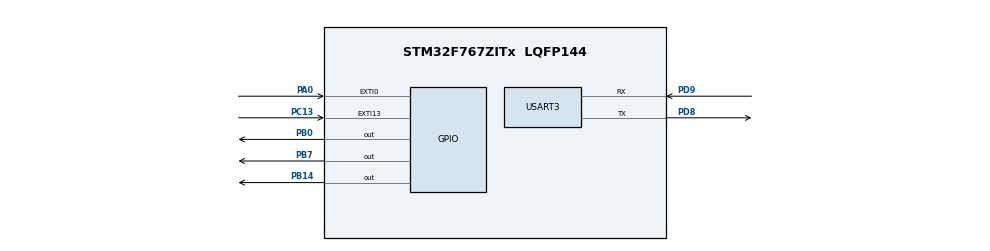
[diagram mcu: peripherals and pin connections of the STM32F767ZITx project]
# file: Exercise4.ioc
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Mcu.Family=STM32F7
Mcu.Name=STM32F767ZITx
Mcu.Package=LQFP144
NVIC.EXTI0_IRQn=true\:2\:2\:true\:false\:true\:true\:true\:true
NVIC.EXTI15_10_IRQn=true\:2\:0\:true\:false\:true\:true\:true\:true
NVIC.PriorityGroup=NVIC_PRIORITYGROUP_2
PA0/WKUP.GPIO_ModeDefaultEXTI=GPIO_MODE_IT_FALLING
PA0/WKUP.Signal=GPXTI0
PB0.Signal=GPIO_Output
PB14.Signal=GPIO_Output
PB7.Signal=GPIO_Output
PC13.GPIO_ModeDefaultEXTI=GPIO_MODE_IT_FALLING
PC13.Signal=GPXTI13
PD8.Mode=Asynchronous
PD8.Signal=USART3_TX
PD9.Mode=Asynchronous
PD9.Signal=USART3_RX
ProjectManager.HeapSize=0x200
ProjectManager.StackSize=0x400
ProjectManager.TargetToolchain=STM32CubeIDE
RCC.HSE_VALUE=25000000
RCC.HSI_VALUE=16000000
RCC.LSE_VALUE=32768
RCC.USBFreq_Value=96000000
RCC.VCOOutputFreq_Value=192000000
USART3.VirtualMode-Asynchronous=VM_ASYNC
board=custom

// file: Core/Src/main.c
/* USER CODE BEGIN Header */
/**
  ******************************************************************************
  * @file           : main.c
  * @brief          : Main program body
  ******************************************************************************
  * @attention
  *
  * Copyright (c) 2023 STMicroelectronics.
  * All rights reserved.
  *
  * This software is licensed under terms that can be found in the LICENSE file
  * in the root directory of this software component.
  * If no LICENSE file comes with this software, it is provided AS-IS.
  *
  ******************************************************************************
  */
/* USER CODE END Header */
#include "main.h"
#include "usart.h"
#include "gpio.h"

void SystemClock_Config(void);

int main(void)
{

  /* MCU Configuration--------------------------------------------------------*/

  /* Reset of all peripherals, Initializes the Flash interface and the Systick. */
  HAL_Init();

  /* Configure the system clock */
  SystemClock_Config();

  /* Initialize all configured peripherals */
  MX_GPIO_Init();
  MX_USART3_UART_Init();

  /* Infinite loop */
  while (1)
  {

    /* USER CODE BEGIN 3 */
	  HAL_UART_Transmit(&huart3,(uint8_t*) ".", 1, 1000);
	  HAL_Delay(400);
  }
  /* USER CODE END 3 */
}

void SystemClock_Config(void)
{
  RCC_OscInitTypeDef RCC_OscInitStruct = {0};
  RCC_ClkInitTypeDef RCC_ClkInitStruct = {0};

  /** Configure the main internal regulator output voltage
  */
  __HAL_RCC_PWR_CLK_ENABLE();
  __HAL_PWR_VOLTAGESCALING_CONFIG(PWR_REGULATOR_VOLTAGE_SCALE3);

  /** Initializes the RCC Oscillators according to the specified parameters
  * in the RCC_OscInitTypeDef structure.
  */
  RCC_OscInitStruct.OscillatorType = RCC_OSCILLATORTYPE_HSI;
  RCC_OscInitStruct.HSIState = RCC_HSI_ON;
  RCC_OscInitStruct.HSICalibrationValue = RCC_HSICALIBRATION_DEFAULT;
  RCC_OscInitStruct.PLL.PLLState = RCC_PLL_NONE;
  if (HAL_RCC_OscConfig(&RCC_OscInitStruct) != HAL_OK)
  {
    Error_Handler();
  }

  /** Initializes the CPU, AHB and APB buses clocks
  */
  RCC_ClkInitStruct.ClockType = RCC_CLOCKTYPE_HCLK|RCC_CLOCKTYPE_SYSCLK
                              |RCC_CLOCKTYPE_PCLK1|RCC_CLOCKTYPE_PCLK2;
  RCC_ClkInitStruct.SYSCLKSource = RCC_SYSCLKSOURCE_HSI;
  RCC_ClkInitStruct.AHBCLKDivider = RCC_SYSCLK_DIV1;
  RCC_ClkInitStruct.APB1CLKDivider = RCC_HCLK_DIV1;
  RCC_ClkInitStruct.APB2CLKDivider = RCC_HCLK_DIV1;

  if (HAL_RCC_ClockConfig(&RCC_ClkInitStruct, FLASH_LATENCY_0) != HAL_OK)
  {
    Error_Handler();
  }
}

/* USER CODE BEGIN 4 */

void HAL_GPIO_EXTI_Callback(uint16_t GPIO_Pin)
{
	if (GPIO_Pin == GPIO_PIN_13)
	{
		HAL_UART_Transmit(&huart3,(uint16_t*) "---", 3, 1000);
		HAL_Delay(200);
		for(int i = 0; i<20; i++)
		{
			HAL_UART_Transmit(&huart3, (uint16_t*) "B" , 1, 1000);
			HAL_Delay(200);
		}
	}
	if(GPIO_Pin == GPIO_PIN_0)
	{
		HAL_UART_Transmit(&huart3,(uint16_t*) "---", 3, 1000);
		HAL_Delay(200);
		for(int i = 0; i<20; i++)
		{
			HAL_UART_Transmit(&huart3, (uint16_t*) "E" , 1, 1000);
			HAL_Delay(200);
		}
	}
}

/* USER CODE END 4 */

void Error_Handler(void)
{
  __disable_irq();
  while (1)
  {
  }
}
